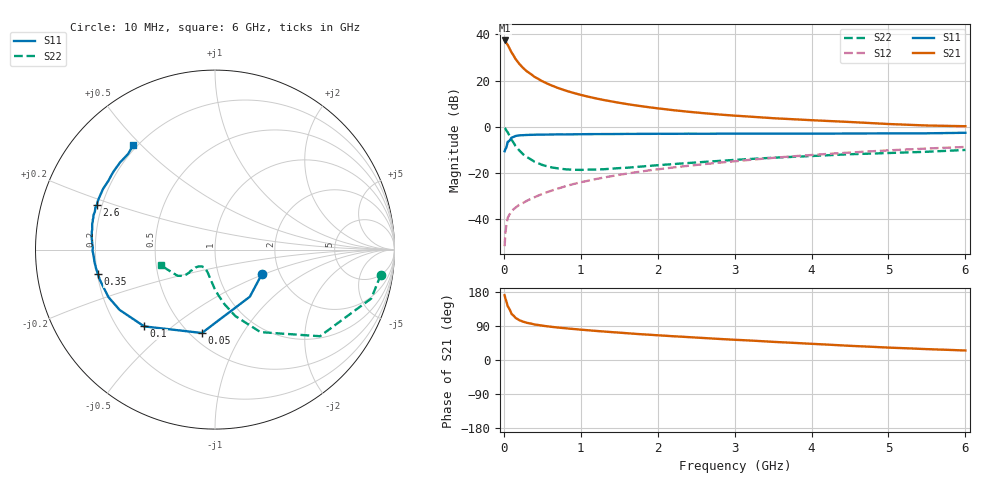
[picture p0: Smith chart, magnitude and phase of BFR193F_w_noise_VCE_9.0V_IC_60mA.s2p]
! Infineon Technologies  Discrete & RF Semiconductors
! BFR193F
! VCE =  9.0 V,  IC =  60 mA
! Common Emitter S-Parameters:  Jan 2017
# GHz  S  MA  R  50
!  f  S11  S21  S12  S22
! GHz  MAG  ANG  MAG  ANG  MAG  ANG  MAG  ANG
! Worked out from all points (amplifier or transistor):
!   77 points, 10 MHz to 6 GHz, reference 50 ohm
!   highest |S21| = 37.3 dB at 10 MHz (marker M1)
!   |S21| within 3 dB of that: start of sweep to 67.06 MHz
!   unconditionally stable (mu >= 1): 774 MHz to 2.62 GHz
!   at 130 MHz: K = 0.48, MSG = 33.1 dB, |S12| = -35.7 dB
!   at 2.2 GHz: K = 1.02, MAG = 11.6 dB, |S12| = -17.6 dB
!   at 6 GHz: K = 0.85, MSG = 4.5 dB, |S12| = -8.8 dB
!   lowest NFmin = 1.64 dB at 450 MHz
!   S11 on the Smith chart (normalised r, x): 10 MHz: 1.62, -0.48; 50 MHz: 0.57, -0.68; 100 MHz: 0.31, -0.40; 350 MHz: 0.20, -0.10; 2.6 GHz: 0.18, +0.18; 6 GHz: 0.18, +0.47
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0.01  0.2947 -27.7  73.56 171.0  0.0026 85.0  0.9345 -8.6
0.02  0.3264 -53.5  70.8 162.4  0.0049 72.9  0.9122 -17.4
0.05  0.4703 -98.9  59 141.9  0.0106 61.6  0.7584 -39.5
0.1  0.582 -132.7  40.61 121.6  0.0149 53.3  0.5245 -61.2
0.15  0.6288 -147.7  29.61 111.5  0.0176 51.3  0.3873 -73.0
0.2  0.6498 -155.9  23.02 105.2  0.0204 53.1  0.3084 -80.2
0.25  0.6564 -161.7  18.7 101.2  0.0224 55.1  0.2531 -86.0
0.3  0.6635 -165.4  15.77 98.1  0.025 58.6  0.22 -90.3
0.35  0.6664 -168.2  13.86 96.2  0.0274 60.3  0.1967 -93.3
0.4  0.6709 -170.9  11.96 93.7  0.0298 61.8  0.1741 -97.2
0.5  0.675 -174.2  9.627 90.6  0.0351 65.1  0.149 -102.8
0.6  0.6771 -176.9  8.068 88.0  0.0404 67.0  0.1337 -107.8
0.7  0.682 -179.4  6.929 85.7  0.0457 69.2  0.1256 -112.2
0.8  0.6808 179.0  6.072 83.8  0.0514 70.0  0.1198 -116.7
1.1  0.6913 174.2  4.451 78.4  0.0679 72.8  0.1179 -125.1
1.5  0.696 169.4  3.294 72.2  0.0912 73.8  0.1271 -132.7
2.1  0.7027 163.4  2.39 64.0  0.1253 74.1  0.151 -137.5
2.6  0.7037 159.2  1.961 58.0  0.1547 73.5  0.1728 -138.2
3.1  0.7075 155.0  1.694 52.4  0.1852 72.5  0.1957 -138.4
4.1  0.7079 146.3  1.359 41.7  0.2507 68.7  0.2363 -141.8
5.1  0.718 136.5  1.127 31.9  0.3135 63.3  0.2729 -152.7
6  0.7391 128.0  1.025 25.1  0.3645 58.1  0.3142 -163.9
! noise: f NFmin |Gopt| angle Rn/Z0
0.45  1.64  0.49  -178  0.08
0.9  1.73  0.5  -177  0.09
1.9  2.33  0.61  -162  0.1
2.4  2.66  0.62  -155  0.17
